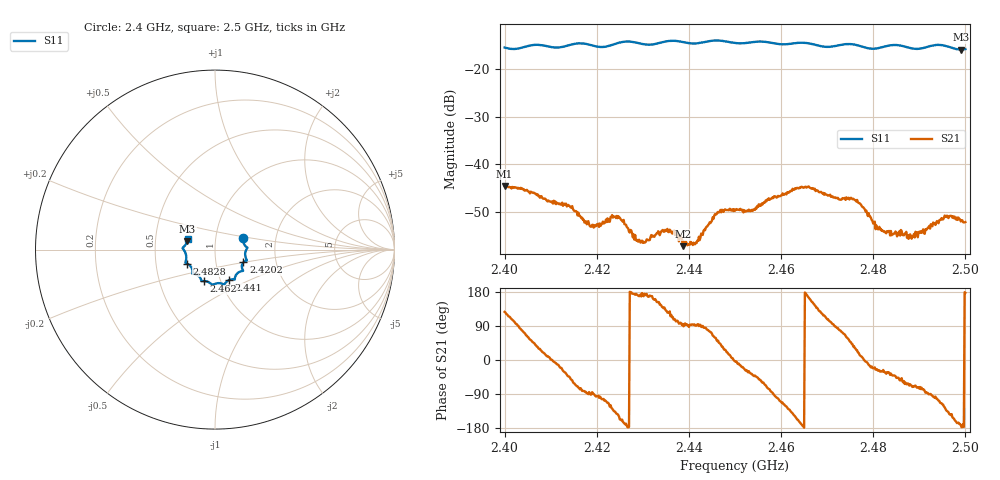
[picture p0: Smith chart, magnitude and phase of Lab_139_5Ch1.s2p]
# Hz S RI R 50
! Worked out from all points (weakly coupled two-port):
!   601 points, 2.4 GHz to 2.5 GHz, reference 50 ohm
!   highest |S21| = -44.63 dB at 2.4 GHz (marker M1); lowest = -57.3 dB at 2.4387 GHz (marker M2)
!   lowest |S11| = -15.9 dB at 2.499 GHz (marker M3), VSWR 1.38, Z = 36.5 + j3.47 ohm
!   |S11| at or under -10 dB: start of sweep to end of sweep
!   S12 and S22 are empty: the file has one direction only
!   S11 on the Smith chart (normalised r, x): 2.4 GHz: 1.36, +0.18; 2.4202 GHz: 1.36, -0.20; 2.441 GHz: 1.10, -0.39; 2.462 GHz: 0.84, -0.30; 2.4828 GHz: 0.72, -0.12; 2.5 GHz: 0.73, +0.09
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2.4e9  0.1571 0.0629  -0.00353 0.00469  0 0  0 0
2.4135e9  0.1711 -0.0446  0.00279 -0.00224  0 0  0 0
2.416667e9  0.1778 -0.0599  0.000563 -0.00263  0 0  0 0
2.420167e9  0.1583 -0.0705  -0.000191 -0.00226  0 0  0 0
2.4245e9  0.1534 -0.11  -0.00214 -0.00163  0 0  0 0
2.43e9  0.1363 -0.1242  -0.00146 0.000217  0 0  0 0
2.433333e9  0.1122 -0.1509  -0.00175 0.000891  0 0  0 0
2.436333e9  0.11 -0.1667  -0.000718 0.00172  0 0  0 0
2.438667e9  0.1004 -0.1659  -0.000121 0.00136  0 0  0 0
2.441e9  0.0787 -0.1697  -8.59e-05 0.00148  0 0  0 0
2.446e9  0.0508 -0.1947  0.00181 0.00235  0 0  0 0
2.45e9  0.0288 -0.1869  0.00322 -0.000188  0 0  0 0
2.453833e9  -0.00586 -0.1935  0.00247 -0.00206  0 0  0 0
2.462e9  -0.0603 -0.1755  -0.00364 -0.00373  0 0  0 0
2.466667e9  -0.0776 -0.1682  -0.00492 0.00245  0 0  0 0
2.476167e9  -0.126 -0.1302  0.0036 0.00209  0 0  0 0
2.482833e9  -0.1576 -0.0774  0.0015 -0.0011  0 0  0 0
2.483333e9  -0.1606 -0.0763  0.00167 -0.00105  0 0  0 0
2.488167e9  -0.16 -0.0476  0.000695 -0.0016  0 0  0 0
2.495667e9  -0.1762 0.0138  -0.00177 -0.00221  0 0  0 0
2.499e9  -0.1544 0.0463  -0.00246 -0.000351  0 0  0 0
2.5e9  -0.1515 0.0609  -0.00245 0.000122  0 0  0 0
